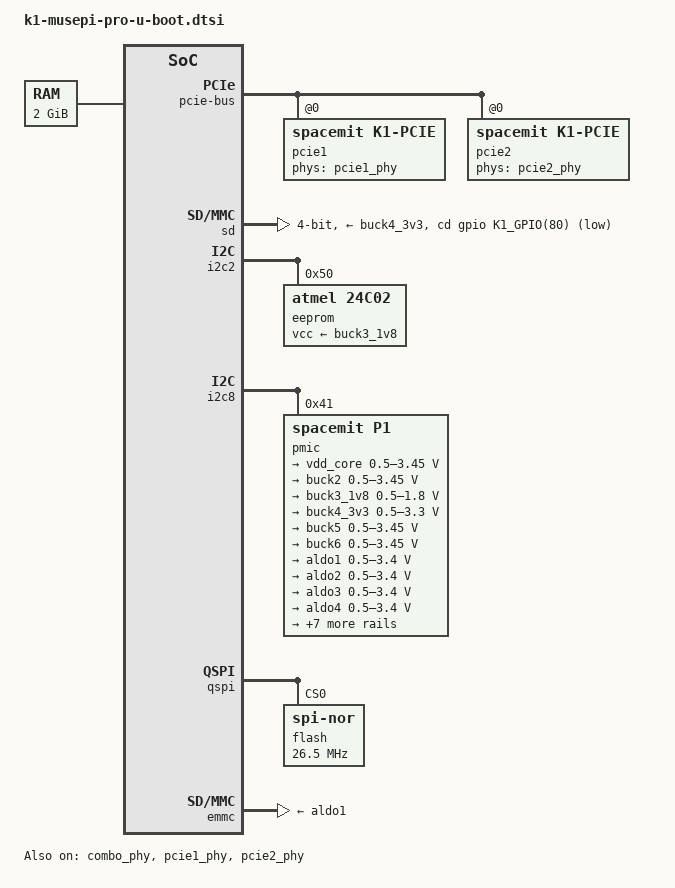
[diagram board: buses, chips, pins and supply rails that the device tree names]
// SPDX-License-Identifier: GPL-2.0+ OR MIT
/*
 * Copyright (C) 2026 RISCstar Ltd.
 */

#include <dt-bindings/clock/spacemit,k1-syscon.h>
#include <dt-bindings/phy/phy.h>
#include "binman.dtsi"

/ {
	aliases {
		console = &uart0;
		serial0 = &uart0;
		mmc0 = &sd;
		mmc1 = &emmc;
	};

	chosen {
		stdout-path = "serial0:115200n8";
	};

	memory@0 {
		device_type = "memory";
		reg = <0x00000000 0x00000000 0x00000000 0x80000000>;
	};
};

&syscon_mpmu {
	clocks = <&osc_32k>, <&vctcxo_1m>, <&vctcxo_3m>, <&vctcxo_24m>,
		 <&pll CLK_PLL1_D4>;
	clock-names = "osc", "vctcxo_1m", "vctcxo_3m", "vctcxo_24m",
		      "pll1_d4";
};

&syscon_apbc {
	clocks = <&osc_32k>, <&vctcxo_1m>, <&vctcxo_3m>, <&vctcxo_24m>,
		 <&pll CLK_PLL1_D4>,
		 <&syscon_mpmu CLK_PLL1_31P5>,
		 <&syscon_apmu CLK_PMUA_ACLK>;
	clock-names = "osc", "vctcxo_1m", "vctcxo_3m", "vctcxo_24m",
		      "pll1_d4", "pll1_d78_31p5", "pmua_aclk";
};

&uart0 {
	bootph-pre-ram;
};

&osc_32k {
	bootph-pre-ram;
};

&vctcxo_1m {
	bootph-pre-ram;
};

&vctcxo_3m {
	bootph-pre-ram;
};

&vctcxo_24m {
	bootph-pre-ram;
};

&syscon_mpmu {
	bootph-pre-ram;
};

&pll {
	bootph-pre-ram;
};

&syscon_apmu {
	bootph-pre-ram;
};

&syscon_apbc {
	bootph-pre-ram;
};

&i2c2 {
	bootph-pre-ram;
	status = "okay";
	pinctrl-0 = <&i2c2_0_cfg>;
	pinctrl-names = "default";
	resets = <&syscon_apbc RESET_TWSI2>;

	eeprom@50 {
		bootph-pre-ram;
		status = "okay";
		compatible = "atmel,24c02";
		reg = <0x50>;
		vcc-supply = <&buck3_1v8>; /* EEPROM_VCC1V8 */
		pagesize = <16>;
		read-only;
		size = <256>;

		nvmem-layout {
			compatible = "onie,tlv-layout";

			mac-address {
				#nvmem-cell-cells = <1>;
			};

			num-macs {
			};

			serial-number {
			};
		};
	};
};

&i2c8 {
	bootph-pre-ram;
	pinctrl-0 = <&i2c8_cfg>;
	pinctrl-names = "default";
	resets = <&syscon_apbc RESET_TWSI8>;
	status = "okay";

	pmic@41 {
		bootph-pre-ram;
		compatible = "spacemit,p1";
		reg = <0x41>;
		interrupts = <64>;
		status = "okay";

		regulators {
			buck1 {
				bootph-pre-ram;
				regulator-name = "vdd_core";
				regulator-min-microvolt = <500000>;
				regulator-max-microvolt = <3450000>;
				regulator-ramp-delay = <5000>;
				regulator-always-on;
			};

			buck2 {
				regulator-min-microvolt = <500000>;
				regulator-max-microvolt = <3450000>;
				regulator-ramp-delay = <5000>;
				regulator-always-on;
			};

			buck3_1v8: buck3 {
				bootph-pre-ram;
				regulator-name = "vdd_1v8";
				regulator-min-microvolt = <500000>;
				regulator-max-microvolt = <1800000>;
				regulator-ramp-delay = <5000>;
				regulator-always-on;
			};

			buck4_3v3: buck4 {
				regulator-min-microvolt = <500000>;
				regulator-max-microvolt = <3300000>;
				regulator-ramp-delay = <5000>;
				regulator-always-on;
			};

			buck5 {
				regulator-min-microvolt = <500000>;
				regulator-max-microvolt = <3450000>;
				regulator-ramp-delay = <5000>;
				regulator-always-on;
			};

			buck6 {
				regulator-min-microvolt = <500000>;
				regulator-max-microvolt = <3450000>;
				regulator-ramp-delay = <5000>;
				regulator-always-on;
			};

			aldo1: aldo1 {
				bootph-pre-ram;
				regulator-name = "vdd_1v8_mmc";
				regulator-min-microvolt = <500000>;
				regulator-max-microvolt = <3400000>;
				regulator-boot-on;
			};

			aldo2 {
				regulator-min-microvolt = <500000>;
				regulator-max-microvolt = <3400000>;
			};

			aldo3 {
				regulator-min-microvolt = <500000>;
				regulator-max-microvolt = <3400000>;
			};

			aldo4 {
				regulator-min-microvolt = <500000>;
				regulator-max-microvolt = <3400000>;
			};

			dldo1 {
				regulator-min-microvolt = <500000>;
				regulator-max-microvolt = <3400000>;
				regulator-boot-on;
			};

			dldo2 {
				regulator-min-microvolt = <500000>;
				regulator-max-microvolt = <3400000>;
			};

			dldo3 {
				regulator-min-microvolt = <500000>;
				regulator-max-microvolt = <3400000>;
			};

			dldo4 {
				regulator-min-microvolt = <500000>;
				regulator-max-microvolt = <3400000>;
				regulator-always-on;
			};

			dldo5 {
				regulator-min-microvolt = <500000>;
				regulator-max-microvolt = <3400000>;
			};

			dldo6 {
				regulator-min-microvolt = <500000>;
				regulator-max-microvolt = <3400000>;
				regulator-always-on;
			};

			dldo7 {
				regulator-min-microvolt = <500000>;
				regulator-max-microvolt = <3400000>;
			};
		};
	};
};

&qspi {
	bootph-pre-ram;
	pinctrl-names = "default";
	pinctrl-0 = <&qspi_cfg>;
	status = "okay";

	flash@0 {
		bootph-pre-ram;
		compatible = "jedec,spi-nor";
		reg = <0>;
		spi-max-frequency = <26500000>;
		m25p,fast-read;
		broken-flash-reset;
		status = "okay";
	};
};

/ {
	soc {
		pcie-bus {
			pcie0: pcie@ca000000 {
				device_type = "pci";
				compatible = "spacemit,k1-pcie";
				reg = <0x0 0xca000000 0x0 0x00001000>,
				      <0x0 0xca300000 0x0 0x0001ff24>,
				      <0x0 0x8f000000 0x0 0x00002000>,
				      <0x0 0xc0b20000 0x0 0x00001000>;
				reg-names = "dbi", "atu", "config", "link";
				linux,pci-domain = <0>;
				#address-cells = <3>;
				#size-cells = <2>;
				ranges = <0x01000000 0x0 0x00000000 0x0 0x8f002000 0x0 0x00100000>,
					 <0x02000000 0x0 0x80000000 0x0 0x80000000 0x0 0x0f000000>;
				interrupts = <141>;
				interrupt-names = "msi";
				clocks = <&syscon_apmu CLK_PCIE0_DBI>,
					 <&syscon_apmu CLK_PCIE0_MASTER>,
					 <&syscon_apmu CLK_PCIE0_SLAVE>;
				clock-names = "dbi", "mstr", "slv";
				resets = <&syscon_apmu RESET_PCIE0_DBI>,
					 <&syscon_apmu RESET_PCIE0_MASTER>,
					 <&syscon_apmu RESET_PCIE0_SLAVE>;
				reset-names = "dbi", "mstr", "slv";
				spacemit,apmu = <&syscon_apmu 0x03cc>;
				phys = <&combo_phy PHY_TYPE_PCIE>;
				phy-names = "pcie-phy";
				status = "disabled";

				pcie0_port: pcie@0 {
					device_type = "pci";
					compatible = "pciclass,0604";
					reg = <0x0 0x0 0x0 0x0 0x0>;
					bus-range = <0x01 0xff>;
					#address-cells = <3>;
					#size-cells = <2>;
					ranges;
				};
			};

			pcie1: pcie@ca400000 {
				device_type = "pci";
				compatible = "spacemit,k1-pcie";
				reg = <0x0 0xca400000 0x0 0x00001000>,
				      <0x0 0xca700000 0x0 0x0001ff24>,
				      <0x0 0x9f000000 0x0 0x00002000>,
				      <0x0 0xc0c20000 0x0 0x00001000>;
				reg-names = "dbi", "atu", "config", "link";
				linux,pci-domain = <1>;
				#address-cells = <3>;
				#size-cells = <2>;
				ranges = <0x01000000 0x0 0x00000000 0x0 0x9f002000 0x0 0x00100000>,
					 <0x02000000 0x0 0x90000000 0x0 0x90000000 0x0 0x0f000000>;
				interrupts = <142>;
				interrupt-names = "msi";
				clocks = <&syscon_apmu CLK_PCIE1_DBI>,
					 <&syscon_apmu CLK_PCIE1_MASTER>,
					 <&syscon_apmu CLK_PCIE1_SLAVE>;
				clock-names = "dbi", "mstr", "slv";
				resets = <&syscon_apmu RESET_PCIE1_DBI>,
					 <&syscon_apmu RESET_PCIE1_MASTER>,
					 <&syscon_apmu RESET_PCIE1_SLAVE>;
				reset-names = "dbi", "mstr", "slv";
				spacemit,apmu = <&syscon_apmu 0x03d4>;
				phys = <&pcie1_phy>;
				phy-names = "pcie-phy";
				status = "okay";

				pcie1_port: pcie@0 {
					device_type = "pci";
					compatible = "pciclass,0604";
					reg = <0x0 0x0 0x0 0x0 0x0>;
					bus-range = <0x01 0xff>;
					#address-cells = <3>;
					#size-cells = <2>;
					ranges;
				};
			};

			pcie2: pcie@ca800000 {
				device_type = "pci";
				compatible = "spacemit,k1-pcie";
				reg = <0x0 0xca800000 0x0 0x00001000>,
				      <0x0 0xcab00000 0x0 0x0001ff24>,
				      <0x0 0xb7000000 0x0 0x00002000>,
				      <0x0 0xc0d20000 0x0 0x00001000>;
				reg-names = "dbi", "atu", "config", "link";
				linux,pci-domain = <2>;
				#address-cells = <3>;
				#size-cells = <2>;
				ranges = <0x01000000 0x0 0x00000000 0x0 0xb7002000 0x0 0x00100000>,
					 <0x02000000 0x0 0xa0000000 0x0 0xa0000000 0x0 0x17000000>;
				interrupts = <143>;
				interrupt-names = "msi";
				clocks = <&syscon_apmu CLK_PCIE2_DBI>,
					 <&syscon_apmu CLK_PCIE2_MASTER>,
					 <&syscon_apmu CLK_PCIE2_SLAVE>;
				clock-names = "dbi", "mstr", "slv";
				resets = <&syscon_apmu RESET_PCIE2_DBI>,
					 <&syscon_apmu RESET_PCIE2_MASTER>,
					 <&syscon_apmu RESET_PCIE2_SLAVE>;
				reset-names = "dbi", "mstr", "slv";
				spacemit,apmu = <&syscon_apmu 0x03dc>;
				phys = <&pcie2_phy>;
				phy-names = "pcie-phy";
				status = "okay";

				pcie2_port: pcie@0 {
					device_type = "pci";
					compatible = "pciclass,0604";
					reg = <0x0 0x0 0x0 0x0 0x0>;
					bus-range = <0x01 0xff>;
					#address-cells = <3>;
					#size-cells = <2>;
					ranges;
				};
			};
		};

		storage-bus {
			sd: mmc@d4280000 {
				bootph-pre-ram;
				compatible = "spacemit,k1-sdhci";
				reg = <0x0 0xd4280000 0x0 0x200>;
				clocks = <&syscon_apmu CLK_SDH_AXI>,
					 <&syscon_apmu CLK_SDH0>;
				clock-names = "core", "io";
				interrupts = <99>;
				resets = <&syscon_apmu RESET_SDH_AXI>,
					 <&syscon_apmu RESET_SDH0>;
				reset-names = "sdh_axi", "sdh0";
				bus-width = <4>;
				max-frequency = <204800000>;
				cd-gpios = <&gpio K1_GPIO(80) GPIO_ACTIVE_LOW>;
				pinctrl-names = "default", "fast";
				pinctrl-0 = <&sdhci0_0_cfg>;
				pinctrl-1 = <&sdhci0_1_cfg>;
				status = "okay";
			};
		};
	};
};

/* SD card pinctrl groups -- not present in upstream k1-pinctrl.dtsi */
&pinctrl {
	sdhci0_0_cfg: sdhci0-0-cfg {
		grp_cmd_data {
			pinmux = <K1_PADCONF(104, 0)>,  /* MMC1_DAT3 */
				 <K1_PADCONF(105, 0)>,  /* MMC1_DAT2 */
				 <K1_PADCONF(106, 0)>,  /* MMC1_DAT1 */
				 <K1_PADCONF(107, 0)>,  /* MMC1_DAT0 */
				 <K1_PADCONF(108, 0)>;  /* MMC1_CMD */
			bias-pull-up = <1>;
			drive-strength = <19>;
		};
		grp_clk {
			pinmux = <K1_PADCONF(109, 0)>;  /* MMC1_CLK */
			bias-pull-down = <1>;
			drive-strength = <19>;
		};
	};

	sdhci0_1_cfg: sdhci0-1-cfg {  /* fast */
		grp_cmd_data {
			pinmux = <K1_PADCONF(104, 0)>,  /* MMC1_DAT3 */
				 <K1_PADCONF(105, 0)>,  /* MMC1_DAT2 */
				 <K1_PADCONF(106, 0)>,  /* MMC1_DAT1 */
				 <K1_PADCONF(107, 0)>,  /* MMC1_DAT0 */
				 <K1_PADCONF(108, 0)>;  /* MMC1_CMD */
			bias-pull-up = <1>;
			drive-strength = <42>;
		};
		grp_clk {
			pinmux = <K1_PADCONF(109, 0)>;  /* MMC1_CLK */
			bias-pull-down = <1>;
			drive-strength = <42>;
		};
	};
};

&emmc {
	bootph-pre-ram;
	resets = <&syscon_apmu RESET_SDH_AXI>, <&syscon_apmu RESET_SDH2>;
	reset-names = "sdh_axi", "sdh2";
	vqmmc-supply = <&buck3_1v8>;
	vmmc-supply = <&aldo1>;
	max-frequency = <204800000>;
};

&sd {
	vmmc-supply = <&buck4_3v3>;
};

&combo_phy {
	status = "okay";
};

&pcie1_phy {
	/*
	 * pinctrl must stay disabled on PHY nodes: the default pcie1_3_cfg
	 * removes the pull-up on CLKREQ# (open-drain), leaving it floating
	 * when the endpoint does not actively drive it low.  Without a valid
	 * CLKREQ# the controller will not complete link training.
	 */
	pinctrl-names = "default";
	pinctrl-0 = <&pcie1_3_cfg>;
	status = "okay";
};

&pcie2_phy {
	/*
	 * pinctrl must stay disabled on PHY nodes (see pcie1_phy above).
	 */
	pinctrl-names = "default";
	pinctrl-0 = <&pcie2_4_cfg>;
	status = "okay";
};

&pcie1_port {
	phys = <&pcie1_phy>;
};

&pcie2_port {
	phys = <&pcie2_phy>;
};

&binman {
	u-boot-spl-ddr {
		type = "section";
		filename = "u-boot-spl-ddr.bin";
		pad-byte = <0xff>;

		u-boot-spl {
		};

		ddr-fw {
			type = "blob";
			filename = "ddr_fw.bin";
			align = <64>;
		};

		u-boot-any {
			type = "section";
			size = <0>;
			offset = <0>;
		};
	};
};
